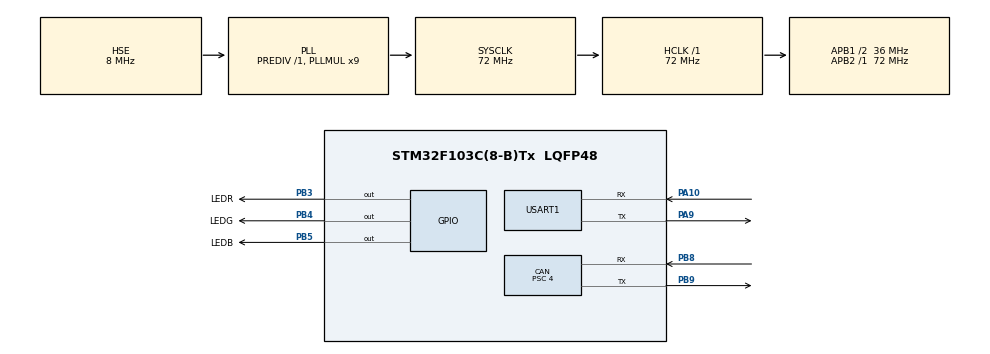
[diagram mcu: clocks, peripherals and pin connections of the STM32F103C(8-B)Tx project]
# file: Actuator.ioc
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CAN.BS1=CAN_BS1_13TQ
CAN.BS2=CAN_BS2_4TQ
CAN.CalculateBaudRate=500000
CAN.CalculateTimeBit=2000
CAN.CalculateTimeQuantum=111.11111111111111
CAN.Prescaler=4
CAN.SJW=CAN_SJW_2TQ
Mcu.Family=STM32F1
Mcu.Name=STM32F103C(8-B)Tx
Mcu.Package=LQFP48
NVIC.CAN1_RX1_IRQn=true\:0\:0\:false\:false\:true\:true\:true\:true
NVIC.PriorityGroup=NVIC_PRIORITYGROUP_4
NVIC.USART1_IRQn=true\:0\:0\:false\:false\:true\:true\:true\:true
PA10.Mode=Asynchronous
PA10.Signal=USART1_RX
PA13.Mode=Serial_Wire
PA13.Signal=SYS_JTMS-SWDIO
PA14.Mode=Serial_Wire
PA14.Signal=SYS_JTCK-SWCLK
PA9.Mode=Asynchronous
PA9.Signal=USART1_TX
PB3.GPIO_Label=LEDR
PB3.Signal=GPIO_Output
PB4.GPIO_Label=LEDG
PB4.Signal=GPIO_Output
PB5.GPIO_Label=LEDB
PB5.Signal=GPIO_Output
PB8.Mode=CAN_Activate
PB8.Signal=CAN_RX
PB9.Mode=CAN_Activate
PB9.Signal=CAN_TX
PD0-OSC_IN.Mode=HSE-External-Oscillator
PD0-OSC_IN.Signal=RCC_OSC_IN
PD1-OSC_OUT.Mode=HSE-External-Oscillator
PD1-OSC_OUT.Signal=RCC_OSC_OUT
ProjectManager.HeapSize=0x200
ProjectManager.StackSize=0x400
ProjectManager.TargetToolchain=STM32CubeIDE
RCC.AHBFreq_Value=72000000
RCC.APB1CLKDivider=RCC_HCLK_DIV2
RCC.APB1Freq_Value=36000000
RCC.APB1TimFreq_Value=72000000
RCC.APB2Freq_Value=72000000
RCC.APB2TimFreq_Value=72000000
RCC.HCLKFreq_Value=72000000
RCC.PLLMUL=RCC_PLL_MUL9
RCC.PLLSourceVirtual=RCC_PLLSOURCE_HSE
RCC.SYSCLKFreq_VALUE=72000000
RCC.SYSCLKSource=RCC_SYSCLKSOURCE_PLLCLK
RCC.USBFreq_Value=72000000
USART1.VirtualMode=VM_ASYNC
board=custom

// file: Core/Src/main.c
/* USER CODE BEGIN Header */
/**
  ******************************************************************************
  * @file           : main.c
  * @brief          : Main program body
  ******************************************************************************
  * @attention
  *
  * Copyright (c) 2024 STMicroelectronics.
  * All rights reserved.
  *
  * This software is licensed under terms that can be found in the LICENSE file
  * in the root directory of this software component.
  * If no LICENSE file comes with this software, it is provided AS-IS.
  *
  ******************************************************************************
  */
/* USER CODE END Header */
#include "main.h"

/* USER CODE BEGIN Includes */
#include "stdio.h"
/* USER CODE END Includes */

/* USER CODE BEGIN PD */
#define CAN_TX_ID_STD 0x0A2
#define CAN_RX_ID_STD 0x012
#define CAN_DATA_LENGTH 0x08
/* USER CODE END PD */

CAN_HandleTypeDef hcan;

UART_HandleTypeDef huart1;

/* USER CODE BEGIN PV */
CAN_TxHeaderTypeDef TxMsg;
CAN_RxHeaderTypeDef RxMsg;
/* USER CODE END PV */

void SystemClock_Config(void);
static void MX_GPIO_Init(void);
static void MX_CAN_Init(void);
static void MX_USART1_UART_Init(void);
/* USER CODE BEGIN PFP */
uint8_t TxData[8];
uint8_t RxData[8];
uint32_t TxMailbox;
uint8_t flag_valid;
uint8_t flag_canRx;
/* USER CODE END PFP */

/* USER CODE BEGIN 0 */

//Calculate the CRC value
uint8_t calc_SAE_J1850(uint8_t data[], int crc_len) {
    int idx, temp1, temp2, idy;
    int crc = 0;
    temp1 = 0;
    temp2 = 0;

    for (idx = 0; idx < crc_len + 1; idx++) {
        if (idx == 0) {
            temp1 = 0;
        } else {
            temp1 = data[crc_len - idx];
        }

        crc = (crc ^ temp1);

        for (idy = 8; idy > 0; idy--) {
            temp2 = crc;
            crc <<= 1;

            if (0 != (temp2 & 128)) {  // Check the highest bit
                crc ^= 0x1D;  // if highest bit =  1, XOR with 0x1D
            }
        }
    }

    return crc;
}

//effect 2: blink all leds
void leds_Blinking(void)
{
	int count = 6;
	while (count) {
	HAL_GPIO_TogglePin(LEDR_GPIO_Port, LEDR_Pin);
	HAL_GPIO_TogglePin(LEDG_GPIO_Port, LEDG_Pin);
	HAL_GPIO_TogglePin(LEDB_GPIO_Port, LEDB_Pin);
	count--;
	HAL_Delay(200);
	}

}

void CAN_Respone(void)
{

	TxMsg.StdId = CAN_TX_ID_STD;
	TxMsg.IDE 	= CAN_ID_STD;
	TxMsg.RTR 	= CAN_RTR_DATA;
	TxMsg.DLC 	= CAN_DATA_LENGTH;

	if (HAL_CAN_AddTxMessage(&hcan, &TxMsg, TxData, &TxMailbox) != HAL_OK)
		Error_Handler();
}

void CAN_CheckRespone(void)
{
	for (int _byte = 0; _byte < 8; ++ _byte)
		{
			TxData[_byte] = RxData[_byte];
		}

	TxData[2] = TxData[0] + TxData[1];
	TxData[7] = calc_SAE_J1850(TxData, 7);

	if ((TxData[2] == RxData[2]) && (TxData[1] == RxData[1]) &&
			(TxData[0] == RxData[0]) &&(TxData[7] == RxData[7]))
		flag_valid = 1;
	else flag_valid = 0;

}

void HAL_CAN_RxFifo1MsgPendingCallback(CAN_HandleTypeDef *hcan)
{
	if (HAL_CAN_GetRxMessage(hcan, CAN_RX_FIFO1, &RxMsg, RxData) != HAL_OK)
		Error_Handler();

	if (RxMsg.StdId == CAN_RX_ID_STD)
	{
		flag_canRx = 1;
	}
}
/* USER CODE END 0 */

int main(void)
{

  /* MCU Configuration--------------------------------------------------------*/

  /* Reset of all peripherals, Initializes the Flash interface and the Systick. */
  HAL_Init();

  /* Configure the system clock */
  SystemClock_Config();

  /* Initialize all configured peripherals */
  MX_GPIO_Init();
  MX_CAN_Init();
  MX_USART1_UART_Init();
  /* USER CODE BEGIN 2 */
  HAL_CAN_Start(&hcan);
  HAL_CAN_ActivateNotification(&hcan, CAN_IT_RX_FIFO1_MSG_PENDING);
  /* USER CODE END 2 */

  /* Infinite loop */
  /* USER CODE BEGIN WHILE */
  while (1)
  {
	  if (flag_canRx) {
		  leds_Blinking();
		  flag_canRx = 0;
	  }
	  HAL_Delay(200);
    /* USER CODE END WHILE */

  }
}

void SystemClock_Config(void)
{
  RCC_OscInitTypeDef RCC_OscInitStruct = {0};
  RCC_ClkInitTypeDef RCC_ClkInitStruct = {0};

  /** Initializes the RCC Oscillators according to the specified parameters
  * in the RCC_OscInitTypeDef structure.
  */
  RCC_OscInitStruct.OscillatorType = RCC_OSCILLATORTYPE_HSE;
  RCC_OscInitStruct.HSEState = RCC_HSE_ON;
  RCC_OscInitStruct.HSEPredivValue = RCC_HSE_PREDIV_DIV1;
  RCC_OscInitStruct.HSIState = RCC_HSI_ON;
  RCC_OscInitStruct.PLL.PLLState = RCC_PLL_ON;
  RCC_OscInitStruct.PLL.PLLSource = RCC_PLLSOURCE_HSE;
  RCC_OscInitStruct.PLL.PLLMUL = RCC_PLL_MUL9;
  if (HAL_RCC_OscConfig(&RCC_OscInitStruct) != HAL_OK)
  {
    Error_Handler();
  }

  /** Initializes the CPU, AHB and APB buses clocks
  */
  RCC_ClkInitStruct.ClockType = RCC_CLOCKTYPE_HCLK|RCC_CLOCKTYPE_SYSCLK
                              |RCC_CLOCKTYPE_PCLK1|RCC_CLOCKTYPE_PCLK2;
  RCC_ClkInitStruct.SYSCLKSource = RCC_SYSCLKSOURCE_PLLCLK;
  RCC_ClkInitStruct.AHBCLKDivider = RCC_SYSCLK_DIV1;
  RCC_ClkInitStruct.APB1CLKDivider = RCC_HCLK_DIV2;
  RCC_ClkInitStruct.APB2CLKDivider = RCC_HCLK_DIV1;

  if (HAL_RCC_ClockConfig(&RCC_ClkInitStruct, FLASH_LATENCY_2) != HAL_OK)
  {
    Error_Handler();
  }
}

static void MX_CAN_Init(void)
{

  hcan.Instance = CAN1;
  hcan.Init.Prescaler = 4;
  hcan.Init.Mode = CAN_MODE_NORMAL;
  hcan.Init.SyncJumpWidth = CAN_SJW_2TQ;
  hcan.Init.TimeSeg1 = CAN_BS1_13TQ;
  hcan.Init.TimeSeg2 = CAN_BS2_4TQ;
  hcan.Init.TimeTriggeredMode = DISABLE;
  hcan.Init.AutoBusOff = DISABLE;
  hcan.Init.AutoWakeUp = DISABLE;
  hcan.Init.AutoRetransmission = DISABLE;
  hcan.Init.ReceiveFifoLocked = DISABLE;
  hcan.Init.TransmitFifoPriority = DISABLE;
  if (HAL_CAN_Init(&hcan) != HAL_OK)
  {
    Error_Handler();
  }

}

static void MX_USART1_UART_Init(void)
{

  huart1.Instance = USART1;
  huart1.Init.BaudRate = 115200;
  huart1.Init.WordLength = UART_WORDLENGTH_8B;
  huart1.Init.StopBits = UART_STOPBITS_1;
  huart1.Init.Parity = UART_PARITY_NONE;
  huart1.Init.Mode = UART_MODE_TX_RX;
  huart1.Init.HwFlowCtl = UART_HWCONTROL_NONE;
  huart1.Init.OverSampling = UART_OVERSAMPLING_16;
  if (HAL_UART_Init(&huart1) != HAL_OK)
  {
    Error_Handler();
  }

}

static void MX_GPIO_Init(void)
{
  GPIO_InitTypeDef GPIO_InitStruct = {0};

  /* GPIO Ports Clock Enable */
  __HAL_RCC_GPIOD_CLK_ENABLE();
  __HAL_RCC_GPIOA_CLK_ENABLE();
  __HAL_RCC_GPIOB_CLK_ENABLE();

  /*Configure GPIO pin Output Level */
  HAL_GPIO_WritePin(GPIOB, LEDR_Pin|LEDG_Pin|LEDB_Pin, GPIO_PIN_RESET);

  /*Configure GPIO pins : LEDR_Pin LEDG_Pin LEDB_Pin */
  GPIO_InitStruct.Pin = LEDR_Pin|LEDG_Pin|LEDB_Pin;
  GPIO_InitStruct.Mode = GPIO_MODE_OUTPUT_PP;
  GPIO_InitStruct.Pull = GPIO_NOPULL;
  GPIO_InitStruct.Speed = GPIO_SPEED_FREQ_LOW;
  HAL_GPIO_Init(GPIOB, &GPIO_InitStruct);

}

void Error_Handler(void)
{
  __disable_irq();
  while (1)
  {
  }
}
